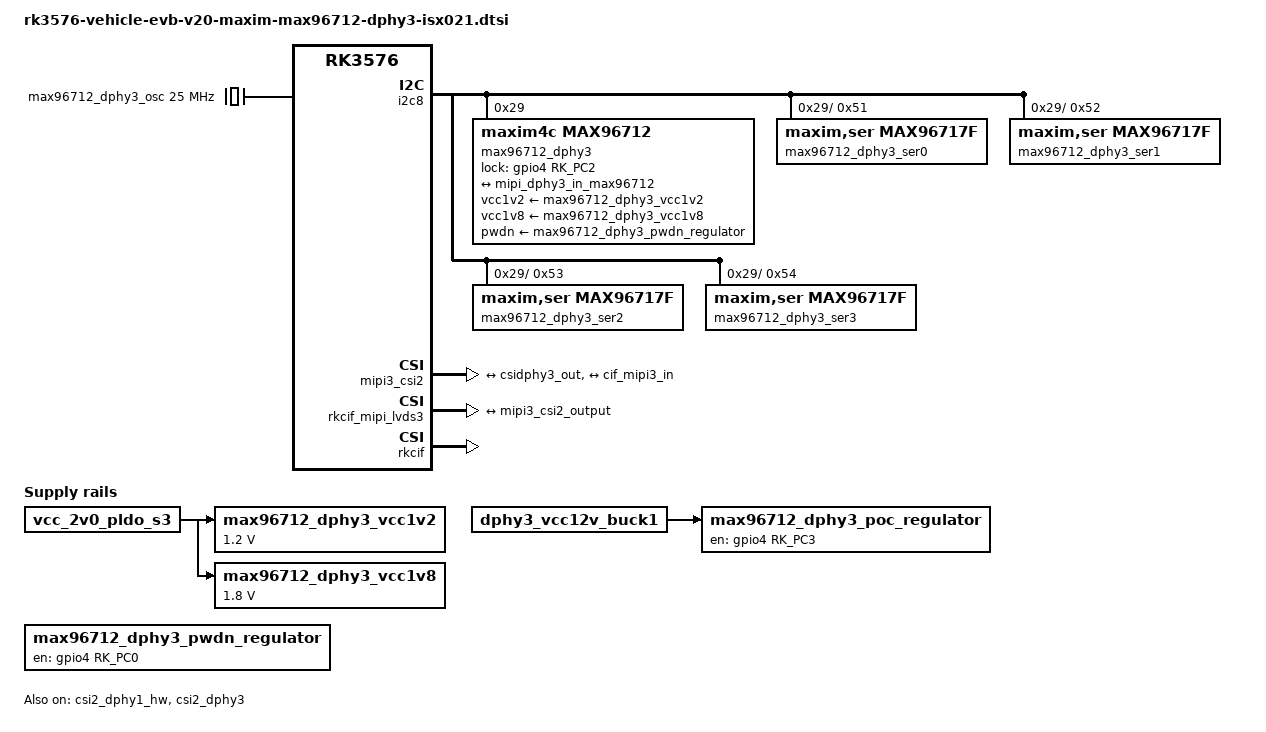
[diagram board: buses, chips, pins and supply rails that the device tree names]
// SPDX-License-Identifier: (GPL-2.0+ OR MIT)
/*
 * Copyright (c) 2024 Rockchip Electronics Co., Ltd.
 *
 */
#include <dt-bindings/display/media-bus-format.h>

/ {
	max96712_dphy3_osc: max96712-dphy3-oscillator {
		compatible = "fixed-clock";
		#clock-cells = <1>;
		clock-frequency = <25000000>;
		clock-output-names = "max96712-dphy3-osc";
	};

	max96712_dphy3_vcc1v2: max96712-dphy3-vcc1v2 {
		compatible = "regulator-fixed";
		regulator-name = "max96712_dphy3_vcc1v2";
		regulator-boot-on;
		regulator-always-on;
		regulator-min-microvolt = <1200000>;
		regulator-max-microvolt = <1200000>;
		startup-delay-us = <850>;
		vin-supply = <&vcc_2v0_pldo_s3>;
	};

	max96712_dphy3_vcc1v8: max96712-dphy3-vcc1v8 {
		compatible = "regulator-fixed";
		regulator-name = "max96712_dphy3_vcc1v8";
		regulator-boot-on;
		regulator-always-on;
		regulator-min-microvolt = <1800000>;
		regulator-max-microvolt = <1800000>;
		startup-delay-us = <200>;
		vin-supply = <&vcc_2v0_pldo_s3>;
	};

	max96712_dphy3_pwdn_regulator: max96712-dphy3-pwdn-regulator {
		compatible = "regulator-fixed";
		regulator-name = "max96712_dphy3_pwdn";
		gpio = <&gpio4 RK_PC0 GPIO_ACTIVE_HIGH>;
		pinctrl-names = "default";
		pinctrl-0 = <&max96712_dphy3_pwdn>;
		enable-active-high;
		startup-delay-us = <10000>;
		off-on-delay-us = <5000>;
	};

	max96712_dphy3_poc_regulator: max96712-dphy3-poc-regulator {
		compatible = "regulator-fixed";
		regulator-name = "max96712_dphy3_poc";
		gpio = <&gpio4 RK_PC3 GPIO_ACTIVE_HIGH>;
		enable-active-high;
		startup-delay-us = <10000>;
		off-on-delay-us = <5000>;
		vin-supply = <&dphy3_vcc12v_buck1>;
	};
};

&csi2_dphy1_hw {
	status = "okay";
};

&csi2_dphy3 {
	status = "okay";

	ports {
		#address-cells = <1>;
		#size-cells = <0>;
		port@0 {
			reg = <0>;
			#address-cells = <1>;
			#size-cells = <0>;

			mipi_dphy3_in_max96712: endpoint@1 {
				reg = <1>;
				remote-endpoint = <&max96712_dphy3_out>;
				data-lanes = <1 2 3 4>;
			};
		};
		port@1 {
			reg = <1>;
			#address-cells = <1>;
			#size-cells = <0>;

			csidphy3_out: endpoint@0 {
				reg = <0>;
				remote-endpoint = <&mipi3_csi2_input>;
			};
		};
	};
};

&i2c8 {
	status = "okay";
	pinctrl-names = "default";
	pinctrl-0 = <&i2c8m2_xfer>;

	max96712_dphy3: max96712@29 {
		compatible = "maxim4c,max96712";
		status = "okay";
		reg = <0x29>;
		clock-names = "xvclk";
		clocks = <&max96712_dphy3_osc 0>;
		pinctrl-names = "default";
		pinctrl-0 = <&max96712_dphy3_errb>, <&max96712_dphy3_lock>;
		power-domains = <&power RK3576_PD_VI>;
		rockchip,grf = <&sys_grf>;
		vcc1v2-supply = <&max96712_dphy3_vcc1v2>;
		vcc1v8-supply = <&max96712_dphy3_vcc1v8>;
		pwdn-supply = <&max96712_dphy3_pwdn_regulator>;
		lock-gpios = <&gpio4 RK_PC2 GPIO_ACTIVE_HIGH>;

		rockchip,camera-module-index = <0>;
		rockchip,camera-module-facing = "back";
		rockchip,camera-module-name = "default";
		rockchip,camera-module-lens-name = "default";

		port {
			max96712_dphy3_out: endpoint {
				remote-endpoint = <&mipi_dphy3_in_max96712>;
				data-lanes = <1 2 3 4>;
			};
		};

		/* support mode config start */
		support-mode-config {
			status = "okay";

			bus-format = <MEDIA_BUS_FMT_UYVY8_2X8>;
			sensor-width = <1920>;
			sensor-height = <1281>;
			crop-rect = <0 1 1920 1280>; // [ left, top, width, height ]
			max-fps-numerator = <10000>;
			max-fps-denominator = <300000>;
			bpp = <16>;
			link-freq-idx = <20>;
		};
		/* support mode config end */

		/* serdes local device start */
		serdes-local-device {
			status = "okay";

			/* GMSL LINK config start */
			gmsl-links {
				status = "okay";

				link-vdd-ldo1-en = <1>;
				link-vdd-ldo2-en = <1>;

				// Link A: link-id = 0
				gmsl-link-config-0 {
					status = "okay";
					link-id = <0>; // Link ID: 0/1/2/3

					link-type = <1>; // 0: GMSL1, 1: GMSL2
					link-rx-rate = <0>; // 0: 3GBPS, 1: 6GBPS
					link-tx-rate = <0>; // 0: default for 187.5MBPS

					link-remote-cam = <&max96712_dphy3_cam0>; // remote camera

					link-init-sequence {
						seq-item-size = <5>; // reg-addr-len + reg-val-len * 2 + 1
						reg-addr-len = <2>; // 1: 8bits, 2: 16bits
						reg-val-len = <1>; // 1: 8bits, 2: 16bits, 3: 24bits

						// reg_addr reg_val val_mask delay
						init-sequence = [
							14 D1 03 00 00 // VGAHiGain
							14 45 00 00 00 // Disable SSC
						];
					};
				};

				// Link B: link-id = 1
				gmsl-link-config-1 {
					status = "okay";
					link-id = <1>; // Link ID: 0/1/2/3

					link-type = <1>; // 0: GMSL1, 1: GMSL2
					link-rx-rate = <0>; // 0: 3GBPS, 1: 6GBPS
					link-tx-rate = <0>; // 0: default for 187.5MBPS

					link-remote-cam = <&max96712_dphy3_cam1>; // remote camera

					link-init-sequence {
						seq-item-size = <5>; // reg-addr-len + reg-val-len * 2 + 1
						reg-addr-len = <2>; // 1: 8bits, 2: 16bits
						reg-val-len = <1>; // 1: 8bits, 2: 16bits, 3: 24bits

						// reg_addr reg_val val_mask delay
						init-sequence = [
							15 D1 03 00 00 // VGAHiGain
							15 45 00 00 00 // Disable SSC
						];
					};
				};

				// Link C: link-id = 2
				gmsl-link-config-2 {
					status = "okay";
					link-id = <2>; // Link ID: 0/1/2/3

					link-type = <1>; // 0: GMSL1, 1: GMSL2
					link-rx-rate = <0>; // 0: 3GBPS, 1: 6GBPS
					link-tx-rate = <0>; // 0: default for 187.5MBPS

					link-remote-cam = <&max96712_dphy3_cam2>; // remote camera

					link-init-sequence {
						seq-item-size = <5>; // reg-addr-len + reg-val-len * 2 + 1
						reg-addr-len = <2>; // 1: 8bits, 2: 16bits
						reg-val-len = <1>; // 1: 8bits, 2: 16bits, 3: 24bits

						// reg_addr reg_val val_mask delay
						init-sequence = [
							16 D1 03 00 00 // VGAHiGain
							16 45 00 00 00 // Disable SSC
						];
					};
				};

				// Link D: link-id = 3
				gmsl-link-config-3 {
					status = "okay";
					link-id = <3>; // Link ID: 0/1/2/3

					link-type = <1>; // 0: GMSL1, 1: GMSL2
					link-rx-rate = <0>; // 0: 3GBPS, 1: 6GBPS
					link-tx-rate = <0>; // 0: default for 187.5MBPS

					link-remote-cam = <&max96712_dphy3_cam3>; // remote camera

					link-init-sequence {
						seq-item-size = <5>; // reg-addr-len + reg-val-len * 2 + 1
						reg-addr-len = <2>; // 1: 8bits, 2: 16bits
						reg-val-len = <1>; // 1: 8bits, 2: 16bits, 3: 24bits

						// reg_addr reg_val val_mask delay
						init-sequence = [
							17 D1 03 00 00 // VGAHiGain
							17 45 00 00 00 // Disable SSC
						];
					};
				};
			};
			/* GMSL LINK config end */

			/* VIDEO PIPE config start */
			video-pipes {
				status = "okay";

				// Video Pipe 0
				video-pipe-config-0 {
					status = "okay";
					pipe-id = <0>; // Video Pipe ID: 0/1/2/3/4/5/6/7

					pipe-idx = <2>; // Video Pipe X/Y/Z/U: 0/1/2/3
					link-idx = <0>; // Link A/B/C/D: 0/1/2/3

					pipe-init-sequence {
						seq-item-size = <5>; // reg-addr-len + reg-val-len * 2 + 1
						reg-addr-len = <2>; // 1: 8bits, 2: 16bits
						reg-val-len = <1>; // 1: 8bits, 2: 16bits, 3: 24bits

						// reg_addr reg_val val_mask delay
						init-sequence = [
							// Send YUV422, FS, and FE from Video Pipe 0 to Controller 1
							09 0B 07 00 00 // Enable 0/1/2 SRC/DST Mappings
							09 2D 15 00 00 // SRC/DST 0/1/2 -> CSI2 Controller 1;
							// For the following MSB 2 bits = VC, LSB 6 bits = DT
							09 0D 1e 00 00 // SRC0 VC = 0, DT = YUV422 8bit
							09 0E 1e 00 00 // DST0 VC = 0, DT = YUV422 8bit
							09 0F 00 00 00 // SRC1 VC = 0, DT = Frame Start
							09 10 00 00 00 // DST1 VC = 0, DT = Frame Start
							09 11 01 00 00 // SRC2 VC = 0, DT = Frame End
							09 12 01 00 00 // DST2 VC = 0, DT = Frame End
						];
					};
				};

				// Video Pipe 1
				video-pipe-config-1 {
					status = "okay";
					pipe-id = <1>; // Video Pipe 1: pipe-id = 1

					pipe-idx = <2>; // Video Pipe X/Y/Z/U: 0/1/2/3
					link-idx = <1>; // Link A/B/C/D: 0/1/2/3

					pipe-init-sequence {
						seq-item-size = <5>; // reg-addr-len + reg-val-len * 2 + 1
						reg-addr-len = <2>; // 1: 8bits, 2: 16bits
						reg-val-len = <1>; // 1: 8bits, 2: 16bits, 3: 24bits

						// reg_addr reg_val val_mask delay
						init-sequence = [
							// Send YUV422, FS, and FE from Video Pipe 1 to Controller 1
							09 4B 07 00 00 // Enable 0/1/2 SRC/DST Mappings
							09 6D 15 00 00 // SRC/DST 0/1/2 -> CSI2 Controller 1;
							// For the following MSB 2 bits = VC, LSB 6 bits = DT
							09 4D 1e 00 00 // SRC0 VC = 0, DT = YUV422 8bit
							09 4E 5e 00 00 // DST0 VC = 1, DT = YUV422 8bit
							09 4F 00 00 00 // SRC1 VC = 0, DT = Frame Start
							09 50 40 00 00 // DST1 VC = 1, DT = Frame Start
							09 51 01 00 00 // SRC2 VC = 0, DT = Frame End
							09 52 41 00 00 // DST2 VC = 1, DT = Frame End
						];
					};
				};

				// Video Pipe 2
				video-pipe-config-2 {
					status = "okay";
					pipe-id = <2>; // Video Pipe ID: 0/1/2/3/4/5/6/7

					pipe-idx = <2>; // Video Pipe X/Y/Z/U: 0/1/2/3
					link-idx = <2>; // Link A/B/C/D: 0/1/2/3

					pipe-init-sequence {
						seq-item-size = <5>; // reg-addr-len + reg-val-len * 2 + 1
						reg-addr-len = <2>; // 1: 8bits, 2: 16bits
						reg-val-len = <1>; // 1: 8bits, 2: 16bits, 3: 24bits

						// reg_addr reg_val val_mask delay
						init-sequence = [
							// Send YUV422, FS, and FE from Video Pipe 2 to Controller 1
							09 8B 07 00 00 // Enable 0/1/2 SRC/DST Mappings
							09 AD 15 00 00 // SRC/DST 0/1/2 -> CSI2 Controller 1;
							// For the following MSB 2 bits = VC, LSB 6 bits = DT
							09 8D 1e 00 00 // SRC0 VC = 0, DT = YUV422 8bit
							09 8E 9e 00 00 // DST0 VC = 2, DT = YUV422 8bit
							09 8F 00 00 00 // SRC1 VC = 0, DT = Frame Start
							09 90 80 00 00 // DST1 VC = 2, DT = Frame Start
							09 91 01 00 00 // SRC2 VC = 0, DT = Frame End
							09 92 81 00 00 // DST2 VC = 2, DT = Frame End
						];
					};
				};

				// Video Pipe 3
				video-pipe-config-3 {
					status = "okay";
					pipe-id = <3>; // Video Pipe ID: 0/1/2/3/4/5/6/7

					pipe-idx = <2>; // Video Pipe X/Y/Z/U: 0/1/2/3
					link-idx = <3>; // Link A/B/C/D: 0/1/2/3

					pipe-init-sequence {
						seq-item-size = <5>; // reg-addr-len + reg-val-len * 2 + 1
						reg-addr-len = <2>; // 1: 8bits, 2: 16bits
						reg-val-len = <1>; // 1: 8bits, 2: 16bits, 3: 24bits

						// reg_addr reg_val val_mask delay
						init-sequence = [
							// Send YUV422, FS, and FE from Video Pipe 3 to Controller 1
							09 CB 07 00 00 // Enable 0/1/2 SRC/DST Mappings
							09 ED 15 00 00 // SRC/DST 0/1/2 -> CSI2 Controller 1;
							// For the following MSB 2 bits = VC, LSB 6 bits = DT
							09 CD 1e 00 00 // SRC0 VC = 0, DT = YUV422 8bit
							09 CE de 00 00 // DST0 VC = 3, DT = YUV422 8bit
							09 CF 00 00 00 // SRC1 VC = 0, DT = Frame Start
							09 D0 c0 00 00 // DST1 VC = 3, DT = Frame Start
							09 D1 01 00 00 // SRC2 VC = 0, DT = Frame End
							09 D2 c1 00 00 // DST2 VC = 3, DT = Frame End
						];
					};
				};
			};
			/* VIDEO PIPE config end */

			/* MIPI TXPHY config start */
			mipi-txphys {
				status = "okay";

				phy-mode = <0>; // 0: 4Lanes, 1: 2Lanes
				phy-force-clock-out = <1>; // 1: default for force clock out
				phy-force-clk0-en = <1>; // provide MIPI clock: 0 = PHY1, 1 = PHY0
				phy-force-clk3-en = <0>; // provide MIPI clock: 0 = PHY2, 1 = PHY3

				// MIPI TXPHY A: phy-id = 0
				mipi-txphy-config-0 {
					status = "okay";
					phy-id = <0>; // MIPI TXPHY ID: 0/1/2/3

					phy-type = <0>; // 0: DPHY, 1: CPHY
					auto-deskew = <0x80>;
					data-lane-num = <4>;
					data-lane-map = <0x4>;
					vc-ext-en = <0>;
				};

				// MIPI TXPHY B: phy-id = 1
				mipi-txphy-config-1 {
					status = "okay";
					phy-id = <1>; // MIPI TXPHY ID: 0/1/2/3

					phy-type = <0>; // 0: DPHY, 1: CPHY
					auto-deskew = <0x80>;
					data-lane-num = <4>;
					data-lane-map = <0xe>;
					vc-ext-en = <0>;
				};
			};
			/* MIPI TXPHY config end */

			/* local device extra init sequence */
			extra-init-sequence {
				status = "okay";

				seq-item-size = <5>; // reg-addr-len + reg-val-len * 2 + 1
				reg-addr-len = <2>; // 1: 8bits, 2: 16bits
				reg-val-len = <1>; // 1: 8bits, 2: 16bits, 3: 24bits

				// reg_addr reg_val val_mask delay
				init-sequence = [
					// common init sequence such as fsync / gpio and so on
					04 A2 00 00 00 // Master link Video 0 for frame sync generation
					04 AA 00 00 00 // Disable Vsync-Fsync overlap window
					04 AB 00 00 00 // Disable Vsync-Fsync overlap window
					04 A8 00 00 00 // FRM_DIFF_ERR_THR_L
					04 A9 00 00 00 // FRM_DIFF_ERR_THR_H
					04 A7 0c 00 00 // FSYNC_PERIOD_H, Set FSYNC period to 25M/30 clock cycles. PCLK = 25MHz. Sync freq = 30Hz
					04 A6 bf 00 00 // FSYNC_PERIOD_M
					04 A5 35 00 00 // FSYNC_PERIOD_L
					04 AF c0 00 00 // FSYNC is GMSL2 type, use osc for fsync
					04 B1 40 00 00 // FSYNC_TX_ID: set 8 to match MFP8 on serializer side
					04 A0 04 00 00 // MFP2, VS not gen internally, GPIO not used to gen fsync, manual mode
				];
			};
		};
		/* serdes local device end */

		/* i2c-mux start */
		i2c-mux {
			#address-cells = <1>;
			#size-cells = <0>;

			i2c@0 {
				#address-cells = <1>;
				#size-cells = <0>;
				reg = <0>;

				// Note: Serializer node defined before camera node
				max96712_dphy3_ser0: max96717@51 {
					compatible = "maxim,ser,max96717f";
					reg = <0x51>;

					ser-i2c-addr-def = <0x40>;

					ser-init-sequence {
						seq-item-size = <5>; // reg-addr-len + reg-val-len * 2 + 1
						reg-addr-len = <2>; // 1: 8bits, 2: 16bits
						reg-val-len = <1>; // 1: 8bits, 2: 16bits, 3: 24bits

						// reg_addr reg_val val_mask delay
						init-sequence = [
							03 02 10 00 00
							14 17 00 00 00
							14 32 7f 00 00
						];
					};
				};

				max96712_dphy3_cam0: isx021@31 {
					compatible = "maxim,dummy,sensor";
					reg = <0x31>;

					cam-i2c-addr-def = <0x30>;

					cam-remote-ser = <&max96712_dphy3_ser0>; // remote serializer

					poc-supply = <&max96712_dphy3_poc_regulator>;

					rockchip,camera-module-index = <0>;
					rockchip,camera-module-facing = "back";
					rockchip,camera-module-name = "default";
					rockchip,camera-module-lens-name = "default";

					/* port config start */
					port {
						max96712_dphy3_cam0_out: endpoint {
							data-lanes = <1 2 3 4>;
						};
					};
					/* port config end */
				};
			};

			i2c@1 {
				#address-cells = <1>;
				#size-cells = <0>;
				reg = <1>;

				// Note: Serializer node defined before camera node
				max96712_dphy3_ser1: max96717@52 {
					compatible = "maxim,ser,max96717f";
					reg = <0x52>;

					ser-i2c-addr-def = <0x40>;

					ser-init-sequence {
						seq-item-size = <5>; // reg-addr-len + reg-val-len * 2 + 1
						reg-addr-len = <2>; // 1: 8bits, 2: 16bits
						reg-val-len = <1>; // 1: 8bits, 2: 16bits, 3: 24bits

						// reg_addr reg_val val_mask delay
						init-sequence = [
							03 02 10 00 00
							14 17 00 00 00
							14 32 7f 00 00
						];
					};
				};

				max96712_dphy3_cam1: isx021@32 {
					compatible = "maxim,dummy,sensor";
					reg = <0x32>;

					cam-i2c-addr-def = <0x30>;

					cam-remote-ser = <&max96712_dphy3_ser1>; // remote serializer

					poc-supply = <&max96712_dphy3_poc_regulator>;

					rockchip,camera-module-index = <1>;
					rockchip,camera-module-facing = "back";
					rockchip,camera-module-name = "default";
					rockchip,camera-module-lens-name = "default";

					/* port config start */
					port {
						max96712_dphy3_cam1_out: endpoint {
							data-lanes = <1 2 3 4>;
						};
					};
					/* port config end */
				};
			};

			i2c@2 {
				#address-cells = <1>;
				#size-cells = <0>;
				reg = <2>;

				// Note: Serializer node defined before camera node
				max96712_dphy3_ser2: max96717@53 {
					compatible = "maxim,ser,max96717f";
					reg = <0x53>;

					ser-i2c-addr-def = <0x40>;

					ser-init-sequence {
						seq-item-size = <5>; // reg-addr-len + reg-val-len * 2 + 1
						reg-addr-len = <2>; // 1: 8bits, 2: 16bits
						reg-val-len = <1>; // 1: 8bits, 2: 16bits, 3: 24bits

						// reg_addr reg_val val_mask delay
						init-sequence = [
							03 02 10 00 00
							14 17 00 00 00
							14 32 7f 00 00
						];
					};
				};

				max96712_dphy3_cam2: isx021@33 {
					compatible = "maxim,dummy,sensor";
					reg = <0x33>;

					cam-i2c-addr-def = <0x30>;

					cam-remote-ser = <&max96712_dphy3_ser2>; // remote serializer

					poc-supply = <&max96712_dphy3_poc_regulator>;

					rockchip,camera-module-index = <2>;
					rockchip,camera-module-facing = "back";
					rockchip,camera-module-name = "default";
					rockchip,camera-module-lens-name = "default";

					/* port config start */
					port {
						max96712_dphy3_cam2_out: endpoint {
							data-lanes = <1 2 3 4>;
						};
					};
					/* port config end */
				};
			};

			i2c@3 {
				#address-cells = <1>;
				#size-cells = <0>;
				reg = <3>;

				// Note: Serializer node defined before camera node
				max96712_dphy3_ser3: max96717@54 {
					compatible = "maxim,ser,max96717f";
					reg = <0x54>;

					ser-i2c-addr-def = <0x40>;

					ser-init-sequence {
						seq-item-size = <5>; // reg-addr-len + reg-val-len * 2 + 1
						reg-addr-len = <2>; // 1: 8bits, 2: 16bits
						reg-val-len = <1>; // 1: 8bits, 2: 16bits, 3: 24bits

						// reg_addr reg_val val_mask delay
						init-sequence = [
							03 02 10 00 00
							14 17 00 00 00
							14 32 7f 00 00
						];
					};
				};

				max96712_dphy3_cam3: isx021@34 {
					compatible = "maxim,dummy,sensor";
					reg = <0x34>;

					cam-i2c-addr-def = <0x30>;

					cam-remote-ser = <&max96712_dphy3_ser3>; // remote serializer

					poc-supply = <&max96712_dphy3_poc_regulator>;

					rockchip,camera-module-index = <3>;
					rockchip,camera-module-facing = "back";
					rockchip,camera-module-name = "default";
					rockchip,camera-module-lens-name = "default";

					/* port config start */
					port {
						max96712_dphy3_cam3_out: endpoint {
							data-lanes = <1 2 3 4>;
						};
					};
					/* port config end */
				};
			};
		};
		/* i2c-mux end */
	};
};

&mipi3_csi2 {
	status = "okay";

	ports {
		#address-cells = <1>;
		#size-cells = <0>;

		port@0 {
			reg = <0>;
			#address-cells = <1>;
			#size-cells = <0>;

			mipi3_csi2_input: endpoint@1 {
				reg = <1>;
				remote-endpoint = <&csidphy3_out>;
			};
		};

		port@1 {
			reg = <1>;
			#address-cells = <1>;
			#size-cells = <0>;

			mipi3_csi2_output: endpoint@0 {
				reg = <0>;
				remote-endpoint = <&cif_mipi3_in>;
			};
		};
	};
};

&rkcif_mipi_lvds3 {
	status = "okay";
	/* parameters for do cif reset detecting:
	 * index0: monitor mode,
		   0 for idle,
		   1 for continue,
		   2 for trigger,
		   3 for hotplug (for nextchip)
	 * index1: the frame id to start timer,
		   min is 2
	 * index2: frame num of monitoring cycle
	 * index3: err time for keep monitoring
		   after finding out err (ms)
	 * index4: csi2 err reference val for resetting
	 */
	rockchip,cif-monitor = <3 2 1 1000 5>;

	port {
		cif_mipi3_in: endpoint {
			remote-endpoint = <&mipi3_csi2_output>;
		};
	};
};

&rkcif {
	status = "okay";
	rockchip,android-usb-camerahal-enable;
};

&rkcif_mmu {
	status = "okay";
};

&pinctrl {
	max96712-dphy3 {
		max96712_dphy3_pwdn: max96712-dphy3-pwdn {
			rockchip,pins = <4 RK_PC0 RK_FUNC_GPIO &pcfg_output_low>;
		};

		max96712_dphy3_errb: max96712-dphy3-errb {
			rockchip,pins = <4 RK_PC1 RK_FUNC_GPIO &pcfg_pull_none_smt>;
		};

		max96712_dphy3_lock: max96712-dphy3-lock {
			rockchip,pins = <4 RK_PC2 RK_FUNC_GPIO &pcfg_pull_none_smt>;
		};
	};
};
